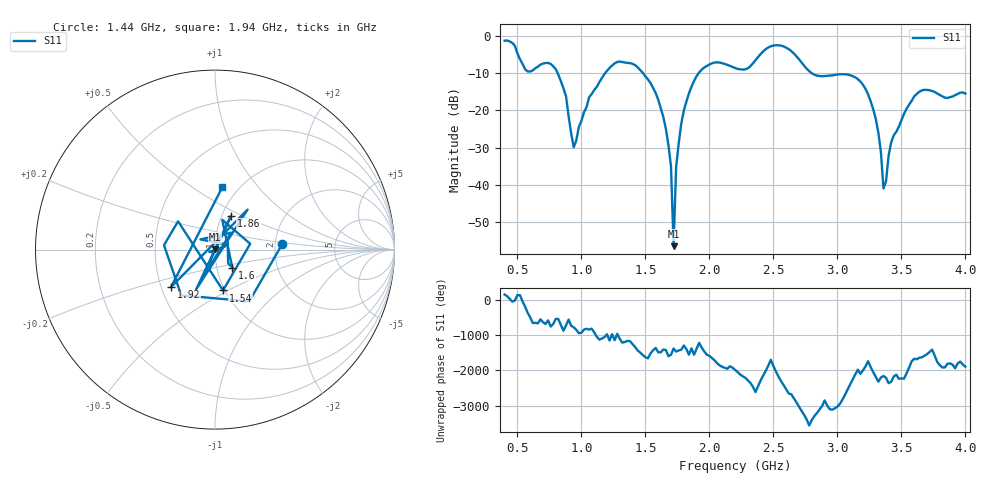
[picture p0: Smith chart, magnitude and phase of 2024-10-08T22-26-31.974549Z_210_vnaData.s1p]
! Created with skrf (http://scikit-rf.org).
# Hz S RI R 50.0
!freq ReS11 ImS11
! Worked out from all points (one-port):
!   181 points, 400 MHz to 4 GHz, reference 50 ohm
!   lowest |S11| = -56.5 dB at 1.72 GHz (marker M1), VSWR 1.00, Z = 50.1 + j0.129 ohm
!   |S11| at or under -10 dB: 813.6 MHz to 1.187 GHz (372.9 MHz wide, 37.3 % of centre); 1.48 GHz to 1.917 GHz (436.7 MHz wide, 25.7 % of centre); 2.798 GHz to end of sweep
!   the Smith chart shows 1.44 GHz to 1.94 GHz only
!   S11 on the Smith chart (normalised r, x): 1.44 GHz: 2.19, +0.16; 1.54 GHz: 0.98, -0.47; 1.6 GHz: 1.19, -0.24; 1.86 GHz: 1.11, +0.43; 1.92 GHz: 0.56, -0.26; 1.94 GHz: 0.84, +0.67
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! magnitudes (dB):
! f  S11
! 400 MHz  -1.3
! 580 MHz  -9.6
! 760 MHz  -7.6
! 860 MHz  -14.1
! 940 MHz  -29.9
! 1.06 GHz  -16.5
! 1.3 GHz  -6.9
! 1.44 GHz  -8.5
! 1.54 GHz  -12.7
! 1.6 GHz  -17.1
! 1.7 GHz  -35.1
! 1.72 GHz  -56.5
! 1.74 GHz  -35.3
! 1.76 GHz  -29.0
! 1.86 GHz  -13.7
! 1.92 GHz  -9.8
! 1.94 GHz  -9.1
! 2.2 GHz  -8.6
! 2.5 GHz  -2.6
! 2.66 GHz  -4.8
! 2.82 GHz  -10.5
! 3.1 GHz  -10.6
! 3.28 GHz  -19.7
! 3.34 GHz  -31.2
! 3.36 GHz  -41.0
! 3.42 GHz  -28.7
! 3.56 GHz  -18.5
! 4 GHz  -15.5
